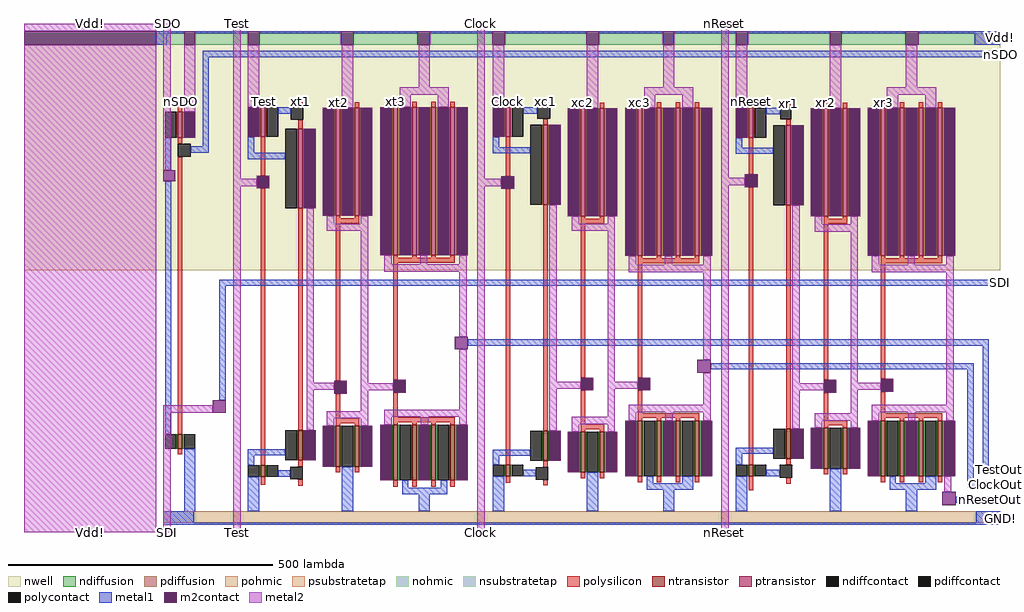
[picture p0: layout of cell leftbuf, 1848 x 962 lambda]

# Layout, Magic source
magic
tech tsmc180
<< nwell >>
rect 0 496 1848 948
<< polysilicon >>
rect 291 796 300 816
rect 448 804 457 815
rect 519 804 528 815
rect 590 803 599 814
rect 626 803 635 814
rect 699 804 708 815
rect 735 804 744 815
rect 771 804 780 815
rect 807 804 816 815
rect 912 804 921 815
rect 983 807 992 815
rect 519 764 528 781
rect 291 735 300 747
rect 291 185 300 711
rect 448 675 457 748
rect 291 147 300 158
rect 448 126 457 651
rect 519 193 528 613
rect 590 594 599 599
rect 626 594 635 599
rect 590 585 635 594
rect 590 286 599 585
rect 1054 802 1063 813
rect 1090 802 1099 813
rect 1162 803 1171 814
rect 1198 803 1207 814
rect 1234 803 1243 814
rect 1270 803 1279 814
rect 1372 803 1381 815
rect 1443 803 1452 812
rect 983 771 992 783
rect 912 674 921 748
rect 699 519 708 524
rect 735 519 744 524
rect 771 519 780 524
rect 807 519 816 524
rect 699 510 816 519
rect 699 288 708 510
rect 590 215 599 262
rect 699 217 708 264
rect 590 206 635 215
rect 590 201 599 206
rect 626 201 635 206
rect 699 208 816 217
rect 699 203 708 208
rect 735 203 744 208
rect 771 203 780 208
rect 807 203 816 208
rect 519 124 528 136
rect 448 90 457 105
rect 590 113 599 124
rect 626 113 635 124
rect 519 88 528 100
rect 912 127 921 650
rect 983 192 992 620
rect 1054 593 1063 598
rect 1090 593 1099 598
rect 1054 584 1099 593
rect 1054 292 1063 584
rect 1514 802 1523 813
rect 1550 802 1559 813
rect 1622 803 1631 814
rect 1658 803 1667 814
rect 1694 803 1703 814
rect 1730 803 1739 814
rect 1443 770 1452 782
rect 1372 677 1381 747
rect 1162 518 1171 523
rect 1198 518 1207 523
rect 1234 518 1243 523
rect 1270 518 1279 523
rect 1162 509 1279 518
rect 1162 292 1171 509
rect 1054 204 1063 268
rect 1162 225 1171 268
rect 1162 216 1279 225
rect 1162 211 1171 216
rect 1198 211 1207 216
rect 1234 211 1243 216
rect 1270 211 1279 216
rect 1054 195 1099 204
rect 1054 190 1063 195
rect 1090 190 1099 195
rect 983 123 992 135
rect 699 86 708 98
rect 735 86 744 98
rect 771 86 780 98
rect 807 86 816 98
rect 912 93 921 106
rect 1054 102 1063 113
rect 1090 102 1099 113
rect 1372 127 1381 653
rect 1443 196 1452 619
rect 1514 593 1523 598
rect 1550 593 1559 598
rect 1514 584 1559 593
rect 1514 288 1523 584
rect 1622 518 1631 523
rect 1658 518 1667 523
rect 1694 518 1703 523
rect 1730 518 1739 523
rect 1622 509 1739 518
rect 1622 290 1631 509
rect 1514 211 1523 264
rect 1622 225 1631 266
rect 1622 216 1739 225
rect 1622 211 1631 216
rect 1658 211 1667 216
rect 1694 211 1703 216
rect 1730 211 1739 216
rect 1514 202 1559 211
rect 1514 197 1523 202
rect 1550 197 1559 202
rect 1443 127 1452 139
rect 983 89 992 99
rect 1162 94 1171 106
rect 1198 94 1207 106
rect 1234 94 1243 106
rect 1270 94 1279 106
rect 1372 79 1381 106
rect 1514 109 1523 120
rect 1550 109 1559 120
rect 1443 91 1452 103
rect 1622 94 1631 106
rect 1658 94 1667 106
rect 1694 94 1703 106
rect 1730 94 1739 106
<< ndiffusion >>
rect 288 158 291 185
rect 300 158 303 185
rect 516 136 519 193
rect 528 136 531 193
rect 445 105 448 126
rect 457 105 460 126
rect 587 124 590 201
rect 599 124 602 201
rect 623 124 626 201
rect 635 124 638 201
rect 696 98 699 203
rect 708 98 711 203
rect 732 98 735 203
rect 744 98 747 203
rect 768 98 771 203
rect 780 98 783 203
rect 804 98 807 203
rect 816 98 819 203
rect 980 135 983 192
rect 992 135 995 192
rect 909 106 912 127
rect 921 106 924 127
rect 1051 113 1054 190
rect 1063 113 1066 190
rect 1087 113 1090 190
rect 1099 113 1102 190
rect 1159 106 1162 211
rect 1171 106 1174 211
rect 1195 106 1198 211
rect 1207 106 1210 211
rect 1231 106 1234 211
rect 1243 106 1246 211
rect 1267 106 1270 211
rect 1279 106 1282 211
rect 1440 139 1443 196
rect 1452 139 1455 196
rect 1369 106 1372 127
rect 1381 106 1384 127
rect 1511 120 1514 197
rect 1523 120 1526 197
rect 1547 120 1550 197
rect 1559 120 1562 197
rect 1619 106 1622 211
rect 1631 106 1634 211
rect 1655 106 1658 211
rect 1667 106 1670 211
rect 1691 106 1694 211
rect 1703 106 1706 211
rect 1727 106 1730 211
rect 1739 106 1742 211
<< pdiffusion >>
rect 288 747 291 796
rect 300 747 303 796
rect 445 748 448 804
rect 457 748 460 804
rect 516 613 519 764
rect 528 613 531 764
rect 587 599 590 803
rect 599 599 602 803
rect 623 599 626 803
rect 635 599 638 803
rect 696 524 699 804
rect 708 524 711 804
rect 732 524 735 804
rect 744 524 747 804
rect 768 524 771 804
rect 780 524 783 804
rect 804 524 807 804
rect 816 524 819 804
rect 909 748 912 804
rect 921 748 924 804
rect 980 620 983 771
rect 992 620 995 771
rect 1051 598 1054 802
rect 1063 598 1066 802
rect 1087 598 1090 802
rect 1099 598 1102 802
rect 1159 523 1162 803
rect 1171 523 1174 803
rect 1195 523 1198 803
rect 1207 523 1210 803
rect 1231 523 1234 803
rect 1243 523 1246 803
rect 1267 523 1270 803
rect 1279 523 1282 803
rect 1369 747 1372 803
rect 1381 747 1384 803
rect 1440 619 1443 770
rect 1452 619 1455 770
rect 1511 598 1514 802
rect 1523 598 1526 802
rect 1547 598 1550 802
rect 1559 598 1562 802
rect 1619 523 1622 803
rect 1631 523 1634 803
rect 1655 523 1658 803
rect 1667 523 1670 803
rect 1691 523 1694 803
rect 1703 523 1706 803
rect 1727 523 1730 803
rect 1739 523 1742 803
<< pohmic >>
rect 264 18 321 39
rect 1803 18 1848 39
<< nohmic >>
rect 0 923 270 944
rect 1800 923 1848 944
<< ntransistor >>
rect 291 158 300 185
rect 519 136 528 193
rect 448 105 457 126
rect 590 124 599 201
rect 626 124 635 201
rect 699 98 708 203
rect 735 98 744 203
rect 771 98 780 203
rect 807 98 816 203
rect 983 135 992 192
rect 912 106 921 127
rect 1054 113 1063 190
rect 1090 113 1099 190
rect 1162 106 1171 211
rect 1198 106 1207 211
rect 1234 106 1243 211
rect 1270 106 1279 211
rect 1443 139 1452 196
rect 1372 106 1381 127
rect 1514 120 1523 197
rect 1550 120 1559 197
rect 1622 106 1631 211
rect 1658 106 1667 211
rect 1694 106 1703 211
rect 1730 106 1739 211
<< ptransistor >>
rect 291 747 300 796
rect 448 748 457 804
rect 519 613 528 764
rect 590 599 599 803
rect 626 599 635 803
rect 699 524 708 804
rect 735 524 744 804
rect 771 524 780 804
rect 807 524 816 804
rect 912 748 921 804
rect 983 620 992 771
rect 1054 598 1063 802
rect 1090 598 1099 802
rect 1162 523 1171 803
rect 1198 523 1207 803
rect 1234 523 1243 803
rect 1270 523 1279 803
rect 1372 747 1381 803
rect 1443 619 1452 770
rect 1514 598 1523 802
rect 1550 598 1559 802
rect 1622 523 1631 803
rect 1658 523 1667 803
rect 1694 523 1703 803
rect 1730 523 1739 803
<< polycontact >>
rect 505 781 529 804
rect 291 711 316 735
rect 441 651 464 675
rect 972 783 996 807
rect 904 650 928 674
rect 587 262 611 286
rect 699 264 723 288
rect 504 100 528 124
rect 1432 782 1453 803
rect 1365 653 1389 677
rect 1054 268 1078 292
rect 1162 268 1186 292
rect 969 99 993 123
rect 1514 264 1538 288
rect 1622 266 1646 290
rect 1431 103 1455 127
<< ndiffcontact >>
rect 267 158 288 185
rect 303 158 324 185
rect 495 136 516 193
rect 531 136 552 193
rect 424 105 445 126
rect 460 105 481 126
rect 566 124 587 201
rect 602 124 623 201
rect 638 124 659 201
rect 675 98 696 203
rect 711 98 732 203
rect 747 98 768 203
rect 783 98 804 203
rect 819 98 840 203
rect 959 135 980 192
rect 995 135 1016 192
rect 888 106 909 127
rect 924 106 945 127
rect 1030 113 1051 190
rect 1066 113 1087 190
rect 1102 113 1123 190
rect 1138 106 1159 211
rect 1174 106 1195 211
rect 1210 106 1231 211
rect 1246 106 1267 211
rect 1282 106 1303 211
rect 1419 139 1440 196
rect 1455 139 1476 196
rect 1348 106 1369 127
rect 1384 106 1405 127
rect 1490 120 1511 197
rect 1526 120 1547 197
rect 1562 120 1583 197
rect 1598 106 1619 211
rect 1634 106 1655 211
rect 1670 106 1691 211
rect 1706 106 1727 211
rect 1742 106 1763 211
<< pdiffcontact >>
rect 267 747 288 796
rect 303 747 324 796
rect 424 748 445 804
rect 460 748 481 804
rect 495 613 516 764
rect 531 613 552 764
rect 566 599 587 803
rect 602 599 623 803
rect 638 599 659 803
rect 675 524 696 804
rect 711 524 732 804
rect 747 524 768 804
rect 783 524 804 804
rect 819 524 840 804
rect 888 748 909 804
rect 924 748 945 804
rect 959 620 980 771
rect 995 620 1016 771
rect 1030 598 1051 802
rect 1066 598 1087 802
rect 1102 598 1123 802
rect 1138 523 1159 803
rect 1174 523 1195 803
rect 1210 523 1231 803
rect 1246 523 1267 803
rect 1282 523 1303 803
rect 1348 747 1369 803
rect 1384 747 1405 803
rect 1419 619 1440 770
rect 1455 619 1476 770
rect 1490 598 1511 802
rect 1526 598 1547 802
rect 1562 598 1583 802
rect 1598 523 1619 803
rect 1634 523 1655 803
rect 1670 523 1691 803
rect 1706 523 1727 803
rect 1742 523 1763 803
<< psubstratetap >>
rect 321 18 1803 39
<< nsubstratetap >>
rect 270 923 1800 944
<< metal1 >>
rect 250 944 303 948
rect 324 944 424 948
rect 446 944 600 948
rect 624 944 745 948
rect 769 944 887 948
rect 911 944 1065 948
rect 1089 944 1209 948
rect 1231 944 1348 948
rect 1371 944 1526 948
rect 1548 944 1669 948
rect 1694 944 1848 948
rect 250 923 270 944
rect 1800 923 1848 944
rect 338 899 1848 911
rect 267 685 279 747
rect 338 730 350 899
rect 316 718 350 730
rect 481 792 505 804
rect 424 718 436 748
rect 424 706 495 718
rect 267 185 279 664
rect 945 792 972 804
rect 888 729 900 748
rect 888 717 959 729
rect 1405 791 1432 803
rect 1348 728 1360 747
rect 1348 716 1419 728
rect 370 466 1848 478
rect 370 250 382 466
rect 840 353 1827 365
rect 1300 308 1798 320
rect 303 39 324 158
rect 424 145 495 157
rect 424 126 436 145
rect 481 105 504 117
rect 424 39 445 105
rect 602 39 623 124
rect 888 144 959 156
rect 888 127 900 144
rect 945 106 969 118
rect 716 84 728 98
rect 789 84 801 98
rect 716 72 801 84
rect 747 39 768 72
rect 888 39 909 106
rect 1066 39 1087 113
rect 1348 148 1419 160
rect 1348 127 1360 148
rect 1405 106 1431 118
rect 1179 92 1191 106
rect 1246 92 1267 106
rect 1179 80 1267 92
rect 1210 39 1231 80
rect 1348 39 1369 106
rect 1526 39 1547 120
rect 1639 92 1651 106
rect 1706 92 1727 106
rect 1639 80 1727 92
rect 1786 96 1798 308
rect 1815 125 1827 353
rect 1815 113 1848 125
rect 1786 84 1848 96
rect 1670 39 1691 80
rect 1764 55 1848 67
rect 264 18 321 39
rect 1803 18 1848 39
rect 264 14 1848 18
<< m2contact >>
rect 0 923 250 948
rect 303 944 324 948
rect 424 944 446 948
rect 600 944 624 948
rect 745 944 769 948
rect 887 944 911 948
rect 1065 944 1089 948
rect 1209 944 1231 948
rect 1348 944 1371 948
rect 1526 944 1548 948
rect 1669 944 1694 948
rect 303 923 324 944
rect 424 923 446 944
rect 600 923 624 944
rect 745 923 769 944
rect 887 923 911 944
rect 1065 923 1089 944
rect 1209 923 1231 944
rect 1348 923 1371 944
rect 1526 923 1548 944
rect 1669 923 1694 944
rect 303 747 324 796
rect 424 748 445 804
rect 264 664 286 685
rect 441 651 464 675
rect 531 613 552 764
rect 566 599 587 803
rect 602 599 623 803
rect 638 599 659 803
rect 675 524 696 804
rect 711 524 732 804
rect 747 524 768 804
rect 783 524 804 804
rect 819 524 840 804
rect 888 748 909 804
rect 904 650 928 674
rect 995 620 1016 771
rect 1030 598 1051 802
rect 1066 598 1087 802
rect 1102 598 1123 802
rect 1138 523 1159 803
rect 1174 523 1195 803
rect 1210 523 1231 803
rect 1246 523 1267 803
rect 1282 523 1303 803
rect 1348 747 1369 803
rect 1365 653 1389 677
rect 1455 619 1476 770
rect 1490 598 1511 802
rect 1526 598 1547 802
rect 1562 598 1583 802
rect 1598 523 1619 803
rect 1634 523 1655 803
rect 1670 523 1691 803
rect 1706 523 1727 803
rect 1742 523 1763 803
rect 816 346 840 370
rect 1275 302 1300 326
rect 587 262 611 286
rect 699 264 723 288
rect 1054 268 1078 292
rect 1162 268 1186 292
rect 1514 264 1538 288
rect 1622 266 1646 290
rect 357 226 382 250
rect 531 136 552 193
rect 566 124 587 201
rect 638 124 659 201
rect 675 98 696 203
rect 747 98 768 203
rect 819 98 840 203
rect 995 135 1016 192
rect 1030 113 1051 190
rect 1102 113 1123 190
rect 1138 106 1159 211
rect 1210 106 1231 211
rect 1282 106 1303 211
rect 1455 139 1476 196
rect 1490 120 1511 197
rect 1562 120 1583 197
rect 1598 106 1619 211
rect 1670 106 1691 211
rect 1742 106 1763 211
rect 1739 51 1764 76
<< metal2 >>
rect 0 948 250 962
rect 0 0 250 923
rect 264 685 278 962
rect 303 796 324 923
rect 396 669 410 962
rect 424 804 445 923
rect 602 803 623 923
rect 747 842 768 923
rect 711 828 804 842
rect 711 804 732 828
rect 783 804 804 828
rect 396 655 441 669
rect 264 226 357 240
rect 264 0 278 226
rect 396 0 410 655
rect 535 283 549 613
rect 573 584 587 599
rect 638 584 652 599
rect 573 570 652 584
rect 535 269 587 283
rect 535 193 549 269
rect 638 282 652 570
rect 858 669 872 962
rect 888 804 909 923
rect 1066 802 1087 923
rect 1210 842 1231 923
rect 1174 828 1267 842
rect 1174 803 1195 828
rect 1246 803 1267 828
rect 858 655 904 669
rect 682 507 696 524
rect 750 507 764 524
rect 824 507 838 524
rect 682 493 838 507
rect 824 370 838 493
rect 638 268 699 282
rect 638 229 652 268
rect 824 232 838 346
rect 573 215 652 229
rect 573 201 587 215
rect 638 201 652 215
rect 682 218 838 232
rect 682 203 696 218
rect 751 203 765 218
rect 824 203 838 218
rect 858 0 872 655
rect 995 285 1009 620
rect 1037 584 1051 598
rect 1105 584 1119 598
rect 1037 570 1119 584
rect 995 271 1054 285
rect 995 192 1009 271
rect 1105 285 1119 570
rect 1320 671 1334 962
rect 1348 803 1369 923
rect 1526 802 1547 923
rect 1670 842 1691 923
rect 1634 828 1727 842
rect 1634 803 1655 828
rect 1706 803 1727 828
rect 1320 657 1365 671
rect 1145 506 1159 523
rect 1213 506 1227 523
rect 1286 506 1300 523
rect 1145 492 1300 506
rect 1286 326 1300 492
rect 1105 271 1162 285
rect 1105 218 1119 271
rect 1286 241 1300 302
rect 1037 204 1119 218
rect 1145 227 1300 241
rect 1145 211 1159 227
rect 1214 211 1228 227
rect 1286 211 1300 227
rect 1037 190 1051 204
rect 1105 190 1119 204
rect 1320 0 1334 657
rect 1455 282 1469 619
rect 1497 583 1511 598
rect 1565 583 1579 598
rect 1497 569 1579 583
rect 1455 268 1514 282
rect 1455 196 1469 268
rect 1565 283 1579 569
rect 1605 506 1619 523
rect 1673 506 1687 523
rect 1746 506 1760 523
rect 1605 492 1760 506
rect 1565 269 1622 283
rect 1565 225 1579 269
rect 1746 241 1760 492
rect 1497 211 1579 225
rect 1605 227 1760 241
rect 1605 211 1619 227
rect 1674 211 1688 227
rect 1746 211 1760 227
rect 1497 197 1511 211
rect 1565 197 1579 211
rect 1742 76 1756 106
<< labels >>
rlabel polysilicon 916 815 916 815 1 Clock
rlabel polysilicon 988 815 988 815 1 xc1
rlabel polysilicon 1058 813 1058 813 1 xc2
rlabel polysilicon 703 815 703 815 1 xt3
rlabel polysilicon 453 815 453 815 1 Test
rlabel polysilicon 523 815 523 815 1 xt1
rlabel polysilicon 595 814 595 814 1 xt2
rlabel polysilicon 1166 814 1166 814 1 xc3
rlabel polysilicon 1377 815 1377 815 1 nReset
rlabel polysilicon 1447 812 1447 812 1 xr1
rlabel polysilicon 1627 814 1627 814 1 xr3
rlabel polysilicon 1518 813 1518 813 1 xr2
rlabel polysilicon 296 816 296 816 1 nSDO
rlabel metal1 1848 113 1848 125 7 TestOut
rlabel metal1 1848 84 1848 96 7 ClockOut
rlabel metal1 1848 55 1848 67 7 nResetOut
rlabel metal2 264 962 278 962 5 SDO
rlabel metal2 0 962 250 962 5 Vdd!
rlabel metal2 396 962 410 962 5 Test
rlabel metal2 858 962 872 962 5 Clock
rlabel metal2 1320 962 1334 962 5 nReset
rlabel metal2 396 0 410 0 1 Test
rlabel metal2 858 0 872 0 1 Clock
rlabel metal2 1320 0 1334 0 1 nReset
rlabel metal1 1848 923 1848 948 3 Vdd!
rlabel metal1 1848 14 1848 39 7 GND!
rlabel metal1 1848 899 1848 911 7 nSDO
rlabel metal2 264 0 278 0 1 SDI
rlabel metal2 0 0 250 0 1 Vdd!
rlabel metal1 1848 466 1848 478 7 SDI
<< end >>
